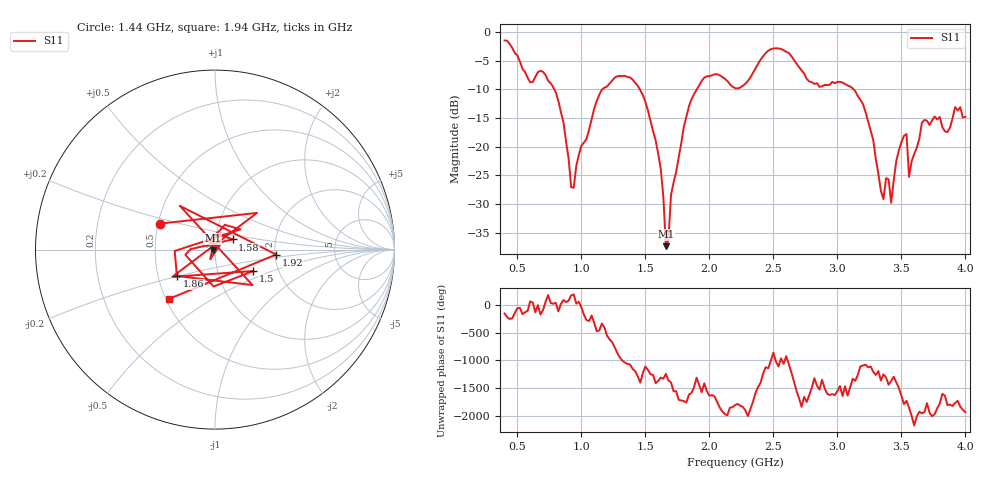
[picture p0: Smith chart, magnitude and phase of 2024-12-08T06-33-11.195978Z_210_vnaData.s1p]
!Created with skrf (http://scikit-rf.org).
# Hz S RI R 50.0
!freq ReS11 ImS11
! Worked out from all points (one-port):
!   181 points, 400 MHz to 4 GHz, reference 50 ohm
!   lowest |S11| = -37.4 dB at 1.66 GHz (marker M1), VSWR 1.03, Z = 48.7 - j0.41 ohm
!   |S11| at or under -10 dB: 788.5 MHz to 1.163 GHz (374.6 MHz wide, 38.4 % of centre); 1.456 GHz to 1.902 GHz (446 MHz wide, 26.6 % of centre); 3.126 GHz to end of sweep
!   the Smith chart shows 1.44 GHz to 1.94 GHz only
!   S11 on the Smith chart (normalised r, x): 1.44 GHz: 0.51, +0.17; 1.5 GHz: 1.49, -0.38; 1.58 GHz: 1.21, +0.14; 1.86 GHz: 0.63, -0.20; 1.92 GHz: 2.03, -0.13; 1.94 GHz: 0.52, -0.33
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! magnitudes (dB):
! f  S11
! 400 MHz  -1.5
! 720 MHz  -7.5
! 860 MHz  -15.8
! 940 MHz  -27.2
! 1.14 GHz  -10.9
! 1.3 GHz  -7.7
! 1.44 GHz  -9.4
! 1.5 GHz  -12.2
! 1.58 GHz  -18.9
! 1.62 GHz  -23.9
! 1.66 GHz  -37.4
! 1.76 GHz  -21.9
! 1.86 GHz  -11.8
! 1.92 GHz  -9.3
! 1.94 GHz  -8.5
! 2.2 GHz  -9.8
! 2.48 GHz  -3.0
! 2.66 GHz  -4.8
! 3.1 GHz  -9.5
! 3.22 GHz  -14.0
! 3.36 GHz  -29.2
! 3.4 GHz  -25.7
! 3.42 GHz  -29.8
! 3.52 GHz  -18.1
! 3.54 GHz  -17.8
! 3.56 GHz  -25.3
! 3.68 GHz  -15.4
! 4 GHz  -14.8
